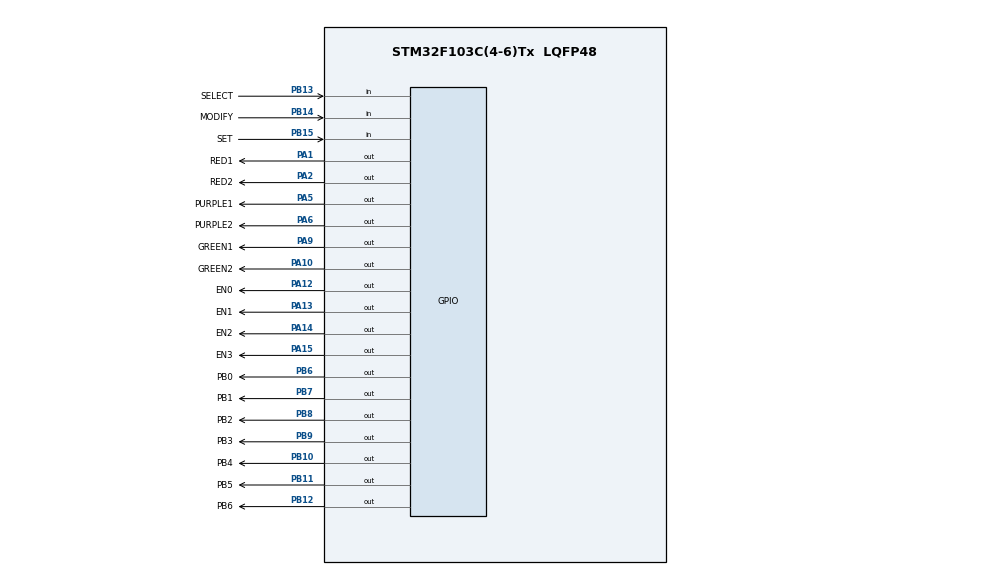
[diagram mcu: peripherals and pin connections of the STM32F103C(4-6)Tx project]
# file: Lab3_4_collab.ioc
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Mcu.Family=STM32F1
Mcu.Name=STM32F103C(4-6)Tx
Mcu.Package=LQFP48
NVIC.PriorityGroup=NVIC_PRIORITYGROUP_4
NVIC.TIM2_IRQn=true\:0\:0\:false\:false\:true\:true\:true\:true
NVIC.TIM3_IRQn=true\:0\:0\:false\:false\:true\:true\:true\:true
PA1.GPIO_Label=RED1
PA1.Signal=GPIO_Output
PA10.GPIO_Label=GREEN2
PA10.Signal=GPIO_Output
PA12.GPIO_Label=EN0
PA12.Signal=GPIO_Output
PA13.GPIO_Label=EN1
PA13.Signal=GPIO_Output
PA14.GPIO_Label=EN2
PA14.Signal=GPIO_Output
PA15.GPIO_Label=EN3
PA15.Signal=GPIO_Output
PA2.GPIO_Label=RED2
PA2.Signal=GPIO_Output
PA5.GPIO_Label=PURPLE1
PA5.Signal=GPIO_Output
PA6.GPIO_Label=PURPLE2
PA6.Signal=GPIO_Output
PA9.GPIO_Label=GREEN1
PA9.Signal=GPIO_Output
PB10.GPIO_Label=PB4
PB10.Signal=GPIO_Output
PB11.GPIO_Label=PB5
PB11.Signal=GPIO_Output
PB12.GPIO_Label=PB6
PB12.Signal=GPIO_Output
PB13.GPIO_Label=SELECT
PB13.GPIO_PuPd=GPIO_PULLUP
PB13.Signal=GPIO_Input
PB14.GPIO_Label=MODIFY
PB14.GPIO_PuPd=GPIO_PULLUP
PB14.Signal=GPIO_Input
PB15.GPIO_Label=SET
PB15.GPIO_PuPd=GPIO_PULLUP
PB15.Signal=GPIO_Input
PB6.GPIO_Label=PB0
PB6.Signal=GPIO_Output
PB7.GPIO_Label=PB1
PB7.Signal=GPIO_Output
PB8.GPIO_Label=PB2
PB8.Signal=GPIO_Output
PB9.GPIO_Label=PB3
PB9.Signal=GPIO_Output
ProjectManager.HeapSize=0x200
ProjectManager.StackSize=0x400
ProjectManager.TargetToolchain=STM32CubeIDE
RCC.APB1Freq_Value=8000000
RCC.APB2Freq_Value=8000000
TIM2.Period=9
TIM2.Prescaler=7999
TIM3.Period=499
TIM3.Prescaler=7999
VP_SYS_VS_ND.Mode=No_Debug
VP_TIM2_VS_ClockSourceINT.Mode=Internal
VP_TIM3_VS_ClockSourceINT.Mode=Internal
board=custom

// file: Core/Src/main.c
/* USER CODE BEGIN Header */
/**
  ******************************************************************************
  * @file           : main.c
  * @brief          : Main program body
  ******************************************************************************
  * @attention
  *
  * Copyright (c) 2022 STMicroelectronics.
  * All rights reserved.
  *
  * This software is licensed under terms that can be found in the LICENSE file
  * in the root directory of this software component.
  * If no LICENSE file comes with this software, it is provided AS-IS.
  *
  ******************************************************************************
  */
/* USER CODE END Header */
#include "main.h"

/* USER CODE BEGIN Includes */
#include "software_timer.h"
#include "global.h"
#include "fsm_machine.h"
#include "seg7_display.h"
#include "button.h"
#include "button2.h"
#include "button3.h"
#include "fsm_change.h"
#include "schedule_function.h"
/* USER CODE END Includes */

TIM_HandleTypeDef htim2;
TIM_HandleTypeDef htim3;

void SystemClock_Config(void);
static void MX_GPIO_Init(void);
static void MX_TIM2_Init(void);
static void MX_TIM3_Init(void);

/* USER CODE BEGIN 0 */
							//Todo 1
void Toggle1(){
	HAL_GPIO_TogglePin(RED1_GPIO_Port, RED1_Pin);
}

							//tODO 2
void Toggle2(){
	HAL_GPIO_TogglePin(PURPLE1_GPIO_Port, PURPLE1_Pin);
}

void Toggle3(){
	HAL_GPIO_TogglePin(GREEN1_GPIO_Port, GREEN1_Pin);
}

int main(void)
{

  /* MCU Configuration--------------------------------------------------------*/

  /* Reset of all peripherals, Initializes the Flash interface and the Systick. */
  HAL_Init();

  /* USER CODE BEGIN Init */
  // Initialize a schedule
//  		 SCH_Init() ;
  	//Add a task to repeatedly call in every 1 second .

  		 SCH_Add_Task(Toggle1, 100 , 100) ;
  		 SCH_Add_Task(Toggle2, 500 , 0) ;
  		 SCH_Add_Task(Toggle3, 200, 0);
  /* USER CODE END Init */

  /* Configure the system clock */
  SystemClock_Config();

  /* Initialize all configured peripherals */
  MX_GPIO_Init();
  MX_TIM2_Init();
  MX_TIM3_Init();
  /* USER CODE BEGIN 2 */
HAL_TIM_Base_Start_IT(&htim2);
HAL_TIM_Base_Start_IT(&htim3);

  /* USER CODE END 2 */

  /* Infinite loop */
  /* USER CODE BEGIN WHILE */

//OFF_ALL_LED2();
  while (1)
  {
//

//Dispatcher function INIT
	  SCH_Dispatch_Tasks();

    /* USER CODE END WHILE */

  }
}

void SystemClock_Config(void)
{
  RCC_OscInitTypeDef RCC_OscInitStruct = {0};
  RCC_ClkInitTypeDef RCC_ClkInitStruct = {0};

  /** Initializes the RCC Oscillators according to the specified parameters
  * in the RCC_OscInitTypeDef structure.
  */
  RCC_OscInitStruct.OscillatorType = RCC_OSCILLATORTYPE_HSI;
  RCC_OscInitStruct.HSIState = RCC_HSI_ON;
  RCC_OscInitStruct.HSICalibrationValue = RCC_HSICALIBRATION_DEFAULT;
  RCC_OscInitStruct.PLL.PLLState = RCC_PLL_NONE;
  if (HAL_RCC_OscConfig(&RCC_OscInitStruct) != HAL_OK)
  {
    Error_Handler();
  }

  /** Initializes the CPU, AHB and APB buses clocks
  */
  RCC_ClkInitStruct.ClockType = RCC_CLOCKTYPE_HCLK|RCC_CLOCKTYPE_SYSCLK
                              |RCC_CLOCKTYPE_PCLK1|RCC_CLOCKTYPE_PCLK2;
  RCC_ClkInitStruct.SYSCLKSource = RCC_SYSCLKSOURCE_HSI;
  RCC_ClkInitStruct.AHBCLKDivider = RCC_SYSCLK_DIV1;
  RCC_ClkInitStruct.APB1CLKDivider = RCC_HCLK_DIV1;
  RCC_ClkInitStruct.APB2CLKDivider = RCC_HCLK_DIV1;

  if (HAL_RCC_ClockConfig(&RCC_ClkInitStruct, FLASH_LATENCY_0) != HAL_OK)
  {
    Error_Handler();
  }
}

static void MX_TIM2_Init(void)
{

  TIM_ClockConfigTypeDef sClockSourceConfig = {0};
  TIM_MasterConfigTypeDef sMasterConfig = {0};

  htim2.Instance = TIM2;
  htim2.Init.Prescaler = 7999;
  htim2.Init.CounterMode = TIM_COUNTERMODE_UP;
  htim2.Init.Period = 9;
  htim2.Init.ClockDivision = TIM_CLOCKDIVISION_DIV1;
  htim2.Init.AutoReloadPreload = TIM_AUTORELOAD_PRELOAD_DISABLE;
  if (HAL_TIM_Base_Init(&htim2) != HAL_OK)
  {
    Error_Handler();
  }
  sClockSourceConfig.ClockSource = TIM_CLOCKSOURCE_INTERNAL;
  if (HAL_TIM_ConfigClockSource(&htim2, &sClockSourceConfig) != HAL_OK)
  {
    Error_Handler();
  }
  sMasterConfig.MasterOutputTrigger = TIM_TRGO_RESET;
  sMasterConfig.MasterSlaveMode = TIM_MASTERSLAVEMODE_DISABLE;
  if (HAL_TIMEx_MasterConfigSynchronization(&htim2, &sMasterConfig) != HAL_OK)
  {
    Error_Handler();
  }

}

static void MX_TIM3_Init(void)
{

  TIM_ClockConfigTypeDef sClockSourceConfig = {0};
  TIM_MasterConfigTypeDef sMasterConfig = {0};

  htim3.Instance = TIM3;
  htim3.Init.Prescaler = 7999;
  htim3.Init.CounterMode = TIM_COUNTERMODE_UP;
  htim3.Init.Period = 499;
  htim3.Init.ClockDivision = TIM_CLOCKDIVISION_DIV1;
  htim3.Init.AutoReloadPreload = TIM_AUTORELOAD_PRELOAD_DISABLE;
  if (HAL_TIM_Base_Init(&htim3) != HAL_OK)
  {
    Error_Handler();
  }
  sClockSourceConfig.ClockSource = TIM_CLOCKSOURCE_INTERNAL;
  if (HAL_TIM_ConfigClockSource(&htim3, &sClockSourceConfig) != HAL_OK)
  {
    Error_Handler();
  }
  sMasterConfig.MasterOutputTrigger = TIM_TRGO_RESET;
  sMasterConfig.MasterSlaveMode = TIM_MASTERSLAVEMODE_DISABLE;
  if (HAL_TIMEx_MasterConfigSynchronization(&htim3, &sMasterConfig) != HAL_OK)
  {
    Error_Handler();
  }

}

static void MX_GPIO_Init(void)
{
  GPIO_InitTypeDef GPIO_InitStruct = {0};

  /* GPIO Ports Clock Enable */
  __HAL_RCC_GPIOA_CLK_ENABLE();
  __HAL_RCC_GPIOB_CLK_ENABLE();

  /*Configure GPIO pin Output Level */
  HAL_GPIO_WritePin(GPIOA, RED1_Pin|RED2_Pin|PURPLE1_Pin|PURPLE2_Pin
                          |GREEN1_Pin|GREEN2_Pin|EN0_Pin|EN1_Pin
                          |EN2_Pin|EN3_Pin, GPIO_PIN_RESET);

  /*Configure GPIO pin Output Level */
  HAL_GPIO_WritePin(GPIOB, PB4_Pin|PB5_Pin|PB6_Pin|PB0_Pin
                          |PB1_Pin|PB2_Pin|PB3_Pin, GPIO_PIN_RESET);

  /*Configure GPIO pins : RED1_Pin RED2_Pin PURPLE1_Pin PURPLE2_Pin
                           GREEN1_Pin GREEN2_Pin EN0_Pin EN1_Pin
                           EN2_Pin EN3_Pin */
  GPIO_InitStruct.Pin = RED1_Pin|RED2_Pin|PURPLE1_Pin|PURPLE2_Pin
                          |GREEN1_Pin|GREEN2_Pin|EN0_Pin|EN1_Pin
                          |EN2_Pin|EN3_Pin;
  GPIO_InitStruct.Mode = GPIO_MODE_OUTPUT_PP;
  GPIO_InitStruct.Pull = GPIO_NOPULL;
  GPIO_InitStruct.Speed = GPIO_SPEED_FREQ_LOW;
  HAL_GPIO_Init(GPIOA, &GPIO_InitStruct);

  /*Configure GPIO pins : PB4_Pin PB5_Pin PB6_Pin PB0_Pin
                           PB1_Pin PB2_Pin PB3_Pin */
  GPIO_InitStruct.Pin = PB4_Pin|PB5_Pin|PB6_Pin|PB0_Pin
                          |PB1_Pin|PB2_Pin|PB3_Pin;
  GPIO_InitStruct.Mode = GPIO_MODE_OUTPUT_PP;
  GPIO_InitStruct.Pull = GPIO_NOPULL;
  GPIO_InitStruct.Speed = GPIO_SPEED_FREQ_LOW;
  HAL_GPIO_Init(GPIOB, &GPIO_InitStruct);

  /*Configure GPIO pins : SELECT_Pin MODIFY_Pin SET_Pin */
  GPIO_InitStruct.Pin = SELECT_Pin|MODIFY_Pin|SET_Pin;
  GPIO_InitStruct.Mode = GPIO_MODE_INPUT;
  GPIO_InitStruct.Pull = GPIO_PULLUP;
  HAL_GPIO_Init(GPIOB, &GPIO_InitStruct);

}

/* USER CODE BEGIN 4 */
void HAL_TIM_PeriodElapsedCallback(TIM_HandleTypeDef *htim2){

	SCH_Update();
}
/* USER CODE END 4 */

void Error_Handler(void)
{
  __disable_irq();
  while (1)
  {
  }
}
